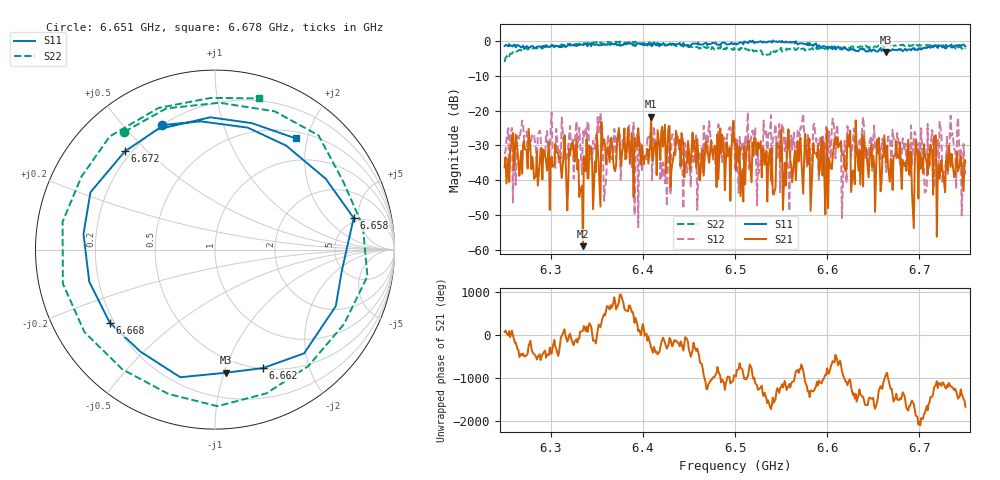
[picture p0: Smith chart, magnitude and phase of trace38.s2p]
# Hz S RI R 50
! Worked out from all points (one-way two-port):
!   401 points, 6.25 GHz to 6.75 GHz, reference 50 ohm
!   highest |S21| = -21.77 dB at 6.409 GHz (marker M1); lowest = -58.9 dB at 6.335 GHz (marker M2)
!   lowest |S11| = -3.2 dB at 6.664 GHz (marker M3), VSWR 5.43, Z = 19.4 - j50.7 ohm
!   |S11| at or under -10 dB: nowhere
!   |S22| runs from -6.0 to -0.1 dB; largest |S21 - S12| = 0.11
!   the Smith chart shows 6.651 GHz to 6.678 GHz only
!   S11 on the Smith chart (normalised r, x): 6.651 GHz: 0.20, +0.64; 6.658 GHz: 4.50, +4.26; 6.662 GHz: 0.51, -1.36; 6.668 GHz: 0.18, -0.30; 6.672 GHz: 0.18, +0.43; 6.678 GHz: 0.60, +1.80
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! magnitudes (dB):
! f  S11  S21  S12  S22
! 6.25 GHz  -1.5  -36.3  -32.4  -6.0
! 6.325 GHz  -1.4  -32.1  -39.6  -0.9
! 6.334 GHz  -1.1  -41.5  -38.4  -0.8
! 6.335 GHz  -1.2  -58.9  -25.9  -0.9
! 6.354 GHz  -1.2  -47.6  -20.7  -0.6
! 6.358 GHz  -1.1  -28.3  -45.9  -0.7
! 6.409 GHz  -1.0  -21.8  -24.6  -1.2
! 6.418 GHz  -1.6  -30.2  -28.9  -0.9
! 6.5 GHz  -1.0  -28.2  -36.8  -2.4
! 6.509 GHz  -1.0  -46.1  -34.4  -2.6
! 6.524 GHz  -0.4  -32.8  -47.2  -2.9
! 6.541 GHz  0.1  -43.8  -28.1  -3.6
! 6.548 GHz  -0.1  -30.5  -23.8  -3.1
! 6.584 GHz  -1.2  -36.5  -31.5  -2.0
! 6.651 GHz  -2.5  -35.5  -24.3  -1.6
! 6.658 GHz  -2.0  -43.2  -33.8  -1.8
! 6.662 GHz  -2.9  -27.1  -29.4  -1.6
! 6.664 GHz  -3.2  -34.9  -37.6  -1.4
! 6.668 GHz  -2.9  -40.4  -27.4  -1.5
! 6.672 GHz  -2.6  -33.3  -28.1  -1.4
! 6.678 GHz  -2.3  -33.6  -29.5  -1.1
! 6.75 GHz  -1.6  -34.7  -38.3  -2.3
